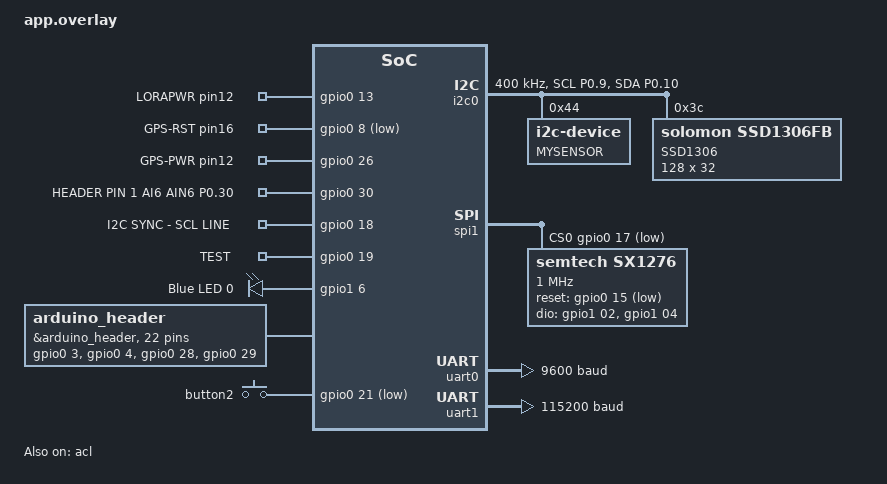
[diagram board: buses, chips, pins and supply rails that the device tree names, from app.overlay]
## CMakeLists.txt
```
#
# Copyright (c) 2018 Nordic Semiconductor
#
# SPDX-License-Identifier: LicenseRef-Nordic-5-Clause
#
set(NCS_BASE C:/ncs/v2.6.0)


cmake_minimum_required(VERSION 3.20.0)

find_package(Zephyr REQUIRED HINTS $ENV{ZEPHYR_BASE})
project(NONE)

# NORDIC SDK APP START
target_sources(app PRIVATE
  src/main.c
)

# Include UART ASYNC API adapter
target_sources_ifdef(CONFIG_BT_NUS_UART_ASYNC_ADAPTER app PRIVATE
  src/uart_async_adapter.c
)
 
# NORDIC SDK APP END

target_sources(app PRIVATE includes/special.c )
target_sources(app PRIVATE fonts/font5x7.c)
target_sources(app PRIVATE fonts/font8x8.c)
target_sources(app PRIVATE fonts/font10x16.c)
target_sources(app PRIVATE fonts/font15x24.c)
target_sources(app PRIVATE fonts/font20x32.c)

zephyr_library_include_directories(${NCS_BASE}/modules/hal/cmsis/CMSIS/DSP/Include)
zephyr_library_include_directories(.)
```

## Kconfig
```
#
# Copyright (c) 2018 Nordic Semiconductor
#
# SPDX-License-Identifier: LicenseRef-Nordic-5-Clause
#

source "Kconfig.zephyr"

menu "Nordic UART BLE GATT service sample"

	
config BT_NUS_THREAD_STACK_SIZE
	int "Thread stack size"
	default 1024
	help
	  Stack size used in each of the two threads

config BT_NUS_UART_BUFFER_SIZE
	int "UART payload buffer element size"
	default 40
	help
	  Size of the payload buffer in each RX and TX FIFO element

config BT_NUS_SECURITY_ENABLED
	bool "Enable security"
	default y
	select BT_SMP
	help
	  "Enable BLE security for the UART service"

config BT_NUS_UART_RX_WAIT_TIME
	int "Timeout for UART RX complete event"
	default 50000
	help
	  Wait for RX complete event time in microseconds

config BT_NUS_UART_ASYNC_ADAPTER
	bool "Enable UART async adapter"
	select SERIAL_SUPPORT_ASYNC
	help
	  Enables asynchronous adapter for UART drives that supports only
	  IRQ interface.


config LORA_SX127X
	bool "Semtech SX127x driver"
	select HAS_SEMTECH_SX1272 if n
	select HAS_SEMTECH_SX1276 if n
	help
	  Enable LoRa driver for Semtech SX1272 and SX1276.


endmenu
```

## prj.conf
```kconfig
#
# Copyright (c) 2018 Nordic Semiconductor
#
# SPDX-License-Identifier: LicenseRef-Nordic-5-Clause
#

# Enable the UART driver
CONFIG_UART_ASYNC_API=y
CONFIG_NRFX_UARTE0=y
CONFIG_NRFX_UARTE1=y


# Make sure printk is printing to the UART console


CONFIG_HEAP_MEM_POOL_SIZE=8196

CONFIG_NEWLIB_LIBC_MIN_REQUIRED_HEAP_SIZE=8196

CONFIG_BT=y
CONFIG_BT_PERIPHERAL=y
CONFIG_BT_DEVICE_NAME="Energy Flavio"
CONFIG_BT_DEVICE_APPEARANCE=833

# Enable the NUS service
CONFIG_BT_NUS=y

# Enable bonding
CONFIG_BT_SETTINGS=y
CONFIG_FLASH=y
CONFIG_FLASH_PAGE_LAYOUT=y
CONFIG_FLASH_MAP=y
CONFIG_NVS=y
CONFIG_SETTINGS=y

# Enable DK LED and Buttons library
CONFIG_DK_LIBRARY=y

# This example requires more stack
CONFIG_MAIN_STACK_SIZE=16192

# Config logger
CONFIG_LOG=y
CONFIG_LOG_BACKEND_RTT=y
CONFIG_LOG_BACKEND_UART=n

CONFIG_ASSERT=y


CONFIG_I2C=y

CONFIG_ADC=y

CONFIG_NEWLIB_LIBC=y
CONFIG_NEWLIB_LIBC_FLOAT_PRINTF=y
CONFIG_CBPRINTF_FP_SUPPORT=y
CONFIG_DISPLAY=y
CONFIG_SSD1306=y
CONFIG_SSD1306_DEFAULT_CONTRAST=128
CONFIG_SSD1306_DEFAULT=y
CONFIG_CHARACTER_FRAMEBUFFER=y
CONFIG_CHARACTER_FRAMEBUFFER_USE_DEFAULT_FONTS=n
CONFIG_I2C_NRFX=y
CONFIG_CMSIS_DSP=y
CONFIG_CMSIS_DSP_COMPLEXMATH=y
CONFIG_CMSIS_DSP_FILTERING=y
CONFIG_CMSIS_DSP_INTERPOLATION=y
CONFIG_CMSIS_DSP_MATRIX=y
CONFIG_CMSIS_DSP_QUATERNIONMATH=y
CONFIG_CMSIS_DSP_STATISTICS=y
CONFIG_CMSIS_DSP_TRANSFORM=y
#CONFIG_NRFX_SAADC_LOG=y
CONFIG_NRFX_SAADC=y
#CONFIG_NRFX_GPIOTE_LOG=y


CONFIG_DEBUG_THREAD_INFO=y
CONFIG_DEBUG_OPTIMIZATIONS=y




CONFIG_SPI=y

CONFIG_LORA=y
CONFIG_LORA_LOG_LEVEL_DBG=y
##CONFIG LORA_SX12XX=y



CONFIG_LORAWAN=y
CONFIG_LORAWAN_LOG_LEVEL_DBG=y
CONFIG_LORAMAC_REGION_EU868=y

CONFIG_LORAWAN_NVM_NONE=y
CONFIG_LORAWAN_SYSTEM_MAX_RX_ERROR=200

CONFIG_LORA_SX127X=y
CONFIG_HAS_SEMTECH_LORAMAC=y
CONFIG_HAS_SEMTECH_RADIO_DRIVERS=y


##CONFIG_LORAWAN_SERVICES=y

CONFIG_THREAD_NAME=y
CONFIG_DEBUG=y

CONFIG_TIMING_FUNCTIONS=y
CONFIG_SYS_CLOCK_EXISTS=y
```

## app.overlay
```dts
/*
 * Copyright (c) 2022 Nordic Semiconductor ASA
 *
 * SPDX-License-Identifier: LicenseRef-Nordic-5-Clause
 */



/ {
	aliases {
		dg0 = &dig0;
		dg1 = &dig1;
		dg2 = &dig2;
		dg3 = &dig3;

		adc = &adc;
		in0 = &in0;
		in1 = &in1;
		i2c0 =&i2c0;	
		lora = &lora0;

	   };
	};
	


/{

    chosen {
        nordic,nrf-adc = &adc;
		nordic,nus-uart = &uart1;
		zephyr,shell-uart = &uart1;
		zephyr,uart-mcumgr = &uart1;
	

		

		zephyr,bt-c2h-uart = &uart1;
		zephyr,bt-mon-uart = &uart1;
		zephyr,console = &uart1;
    };



	output_digital {
		compatible = "gpio-keys";
		dig0: dig_0 {
			label = "LORAPWR pin12";
			
		};
		dig1: dig_1 {
			label = "GPS-RST pin16";
		
	    };

		dig2: dig_2 {
			label = "GPS-PWR  pin12";
		
	    };

		dig3: dig_3 {
			label = "HEADER PIN 1 AI6 AIN6 P0.30";
		
	    };


	};


	input_digital {
		compatible = "gpio-keys";

		in0: in0 {
			label = "I2C SYNC - SCL LINE ";
		};
		
		in1: in1 {
			label = "TEST ";
		};

	};	
		
	
};



&pinctrl {
    i2c0_default: i2c0_default {
        group1 {
            psels = <NRF_PSEL(TWIM_SCL, 0, 9)>, <NRF_PSEL(TWIM_SDA, 0, 10)>;  // sda 0,10 scl 0,9
        };
    };
};


&i2c0 {
	compatible = "nordic,nrf-twi";
	status = "okay";
	label="I2C_0"; 
    pinctrl-0 = <&i2c0_default>;
    pinctrl-1 = <&i2c0_sleep>;
    pinctrl-names = "default","sleep";
	clock-frequency = <I2C_BITRATE_FAST>; //maximum 400khz
	mysensor:mysensor@44{
		compatible = "i2c-device";
        reg = < 0x44 >;
        label = "MYSENSOR";
    };

	

};

 
&i2c0 {
     display:ssd1306@3c {
        compatible = "solomon,ssd1306fb";
        reg = <0x3c>;
        label = "SSD1306";
        height = <32>;
        width  = <128>;
        segment-offset  = <0>;
        page-offset     = <0>;
        display-offset  = <0>;
        multiplex-ratio = <31>;
        prechargep      = <0xD1>;
        segment-remap;
        com-invdir;
        com-sequential;
        //reset-gpios = <&gpio1 15 (GPIO_ACTIVE_LOW)>;
    };


};


&adc {
	#address-cells = <1>;
	#size-cells = <0>;
    io-channels = <&adc 0>, <&adc 1>;
	channel@0 {
		reg = <0>;
		zephyr,gain = "ADC_GAIN_1_6";
		zephyr,reference = "ADC_REF_INTERNAL";
		zephyr,acquisition-time = <ADC_ACQ_TIME_DEFAULT>;
		zephyr,input-positive = <NRF_SAADC_AIN0>; 
		zephyr,resolution = <14>;
		zephyr,oversampling = <0>;

	};

	channel@1 {
		reg = <1>;
		zephyr,gain = "ADC_GAIN_1_6";
		zephyr,reference = "ADC_REF_INTERNAL";
		zephyr,acquisition-time = <ADC_ACQ_TIME_DEFAULT>;
		zephyr,input-positive = <NRF_SAADC_AIN1>; 
		zephyr,resolution = <14>;
		zephyr,oversampling = <0>;
	};

	


};


&dig0 {
	gpios = <&gpio0 13 0>; // LORAPWR pin12
};

&dig2 {
    gpios = <&gpio0 26 0>; // GPS-PWR  pin12
};

&dig3 {
    gpios = <&gpio0 30 0>; // HEADER PIN 1 AI6 AIN6
};



&in0 {
	gpios = <&gpio0 18 0>;  //AIN4 pin 4 P0.28
};

&in1 {
	gpios = <&gpio0 19 0>;  //AIN5 pin 8  P0.29
};


&uart0_default {

    group2 {
        psels = <NRF_PSEL(UART_RX, 0, 24)>,
										<NRF_PSEL(UART_TX, 0, 2)>; //RX PIN35 P0.24    //TX PIN 7 P0.00
    };
};

/delete-node/ &{/pin-controller/uart0_sleep/group1/};


&led0 {
    gpios = <&gpio1 6 (GPIO_ACTIVE_HIGH)>; //LED0   PIN42  P1.06  WRITE TEST OK
	label = "Blue LED 0";
};

&led1 {
	status = "disabled";

};


&led2 {
	status = "disabled";

};

&led3 {
	status = "disabled";

};



&i2c0_sleep {
    group1 {
        psels = <NRF_PSEL(TWIM_SDA, 0, 10)>, <NRF_PSEL(TWIM_SCL, 0, 9)>;
    };
};


&button0 {
	status = "disabled";
};

&button1 {
	status = "disabled";
};


&adc {
	status = "disabled";
};


&pwm0 {
	status = "disabled";
};

&spi1 {
	status = "okay";
};

&spi3 {
	status = "disabled";
};


&dig0 {
	status = "okay";
};


&dig1 {
	status = "okay";
	gpios = <&gpio0 8 GPIO_ACTIVE_LOW>;
};


&dig2 {
	status = "okay";
};

&dig3 {
	status = "okay";
};


/delete-node/ &{/pin-controller/uart0_default/group1/};




&arduino_header {
	gpio-map = <0 0 &gpio0 3 0>,
			   <1 0 &gpio0 4 0>,
			   <2 0 &gpio0 28 0>,
			   <3 0 &gpio0 29 0>,
			   <4 0 &gpio0 30 0>,
			   <5 0 &gpio0 31 0>,
			   <6 0 &gpio1 1 0>,
			   <7 0 &gpio1 2 0>,
			   <8 0 &gpio1 3 0>,
			   <9 0 &gpio1 4 0>,
			   <10 0 &gpio1 5 0>,
			   <11 0 &gpio1 6 0>,
			   <12 0 &gpio1 7 0>,
			   <13 0 &gpio1 8 0>,
			   <14 0 &gpio0 17 0>,
			   <15 0 &gpio0 19 0>,
			   <16 0 &gpio0 20 0>,
			   <17 0 &gpio0 21 0>,
			   <18 0 &gpio0 22 0>,
			   <19 0 &gpio0 23 0>,
			   <20 0 &gpio0 26 0>,
			   <21 0 &gpio0 27 0>;
};

&spi1 {
    //VDD - CONNECT TO 3V - USE A 220UF TO GND
     cs-gpios = <&gpio0 17 GPIO_ACTIVE_LOW>; // PIN NSS //MODULE PIN 30 GPIO 0 17 ok
    lora0: sx1276@0 {
		        compatible = "semtech,sx1276";
		        reset-gpios = <&gpio0 15 GPIO_ACTIVE_LOW>; //MODULE PIN 28 GPIO 0 15
		        dio-gpios = 
                 <&gpio1 02 (GPIO_PULL_DOWN | GPIO_ACTIVE_HIGH)>, //DIO-0 //MODULE PIN 38 ok gpio1 02
                 <&gpio1 04 (GPIO_PULL_DOWN | GPIO_ACTIVE_HIGH)>; //DIO-1 //MODULE PIN 40 ok gpio1 04
                 
		        power-amplifier-output = "pa-boost";
		        reg = <0>;
		        spi-max-frequency = <1000000>;
		        label = "sx1276";
          };

};

 //MODULE_NEW
 //THIS MODULE WITH PCB IS INVERTED
&spi1_default {
	group1 {
		psels = <NRF_PSEL(SPIM_SCK, 0, 20)>,  //MODULE PIN 32
				<NRF_PSEL(SPIM_MISO, 0, 22)>, //MODULE PIN 34   MISO = SO PIN 2 SX1276
				<NRF_PSEL(SPIM_MOSI, 1, 00)>; //MODULE PIN 36   MOSI = SI PIN 3 SX1276
	};
};

/* 
 //THIS MODULE IS CORRECTED
&spi1_default {
	group1 {
		psels = <NRF_PSEL(SPIM_SCK, 0, 20)>,  //MODULE PIN 32
				<NRF_PSEL(SPIM_MOSI, 0, 22)>, //MODULE PIN 36   MOSI = SI PIN 3 SX1276
				<NRF_PSEL(SPIM_MISO, 1, 00)>; //MODULE PIN 34   MISO = SO PIN 2 SX1276
	};
};
*/


&clock {
	status = "okay";
};

&acl {
	status = "okay";
};

&uart0 {
	current-speed = <9600>;
};

&spi1_sleep {
	group1 {
		psels = <NRF_PSEL(SPIM_SCK, 0, 20)>,
				<NRF_PSEL(SPIM_MOSI, 1, 00)>,
				<NRF_PSEL(SPIM_MISO, 0, 22)>;
	};
};


&uart1_default {

	group1 {
		psels = <NRF_PSEL(UART_RX, 0, 29)>, <NRF_PSEL(UART_TX, 0, 28)>;
	};
};




&button2 {
	gpios = <&gpio0 21 (GPIO_ACTIVE_LOW | GPIO_PULL_UP)>;
};

GPS: &uart1 {
	status = "okay";
	current-speed = <115200>;
};
/delete-node/ &{/pin-controller/uart1_default/group2/};
```

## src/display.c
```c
/*
 * Copyright (c) 2018 PHYTEC Messtechnik GmbH
 *
 * SPDX-License-Identifier: Apache-2.0
 */
#include <stdio.h>
/*
#include <zephyr/devicetree.h>

#include <zephyr/device.h>
#include <zephyr/display/cfb.h>


#include <zephyr/logging/log.h>
#include <zephyr/drivers/i2c.h>
*/
//LOG_MODULE_REGISTER(display, 3);


static struct device *dev;
static uint16_t rows;
static uint8_t ppt;
static uint8_t font_width;
static uint8_t font_height;
#define SELECTED_FONT_INDEX  4  // perhaps make this a config parameter

/*---------------------------------------------------------------------------*/
/*                                                                           */
/*---------------------------------------------------------------------------*/
void display_play(void)
{
    uint8_t x_offset = 0;
    uint8_t y_offset;

 /*
    while (1) {

        for (int i=0; i < rows; i++) {

            y_offset = i * ppt;

            switch (i) {
                case 0:
                    cfb_print(dev, " average", x_offset, y_offset);
                    break;
                case 1:
                    cfb_print(dev, " good",    x_offset, y_offset);
                    break;
                case 2:
                    cfb_print(dev, " better",  x_offset, y_offset);
                    break;
                case 3:
                    cfb_print(dev, " best",    x_offset, y_offset);
                    break;
                default:
                    break;
            }

            cfb_framebuffer_finalize(dev);

            k_sleep(K_MSEC(300));
        }

        cfb_framebuffer_clear(dev, false);

        if (x_offset > 50)
            x_offset = 0;
        else
            x_offset += 5;
    }
*/

}

/*---------------------------------------------------------------------------*/
/*                                                                           */
/*---------------------------------------------------------------------------*/
void display_init(void)
{

/*
  
    dev = device_get_binding(DT_N_S_soc_S_i2c_40003000_S_ssd1306_3c_FULL_NAME);

    if (dev == NULL) {
        LOG_ERR("Device not found");
        return;
    }

    if (display_set_pixel_format(dev, PIXEL_FORMAT_MONO10) != 0) {
        LOG_ERR("Failed to set required pixel format");
        return;
    }

    LOG_INF("Binding to %s", DISPLAY_DRIVER);

    if (cfb_framebuffer_init(dev)) {
        LOG_ERR("Framebuffer initialization failed!");
        return;
    }

    cfb_framebuffer_clear(dev, true);

    display_blanking_off(dev);

    rows = cfb_get_display_parameter(dev, CFB_DISPLAY_ROWS);
    ppt  = cfb_get_display_parameter(dev, CFB_DISPLAY_PPT);

    int num_fonts = cfb_get_numof_fonts(dev);

    for (int idx = 0; idx < num_fonts; idx++) {

        cfb_get_font_size(dev, idx, &font_width, &font_height);

        LOG_INF("Index[%d] font dimensions %2dx%d",
                idx, font_width, font_height);
    }

    cfb_framebuffer_set_font(dev, SELECTED_FONT_INDEX);

    LOG_INF("Selected font: index[%d]", SELECTED_FONT_INDEX);

    cfb_framebuffer_invert(dev);  // white on black

    LOG_INF("x_res %d, y_res %d, ppt %d, rows %d, cols %d",
            cfb_get_display_parameter(dev, CFB_DISPLAY_WIDTH),
            cfb_get_display_parameter(dev, CFB_DISPLAY_HEIGH),
            ppt,
            rows,
            cfb_get_display_parameter(dev, CFB_DISPLAY_COLS));


  */          
}
```
